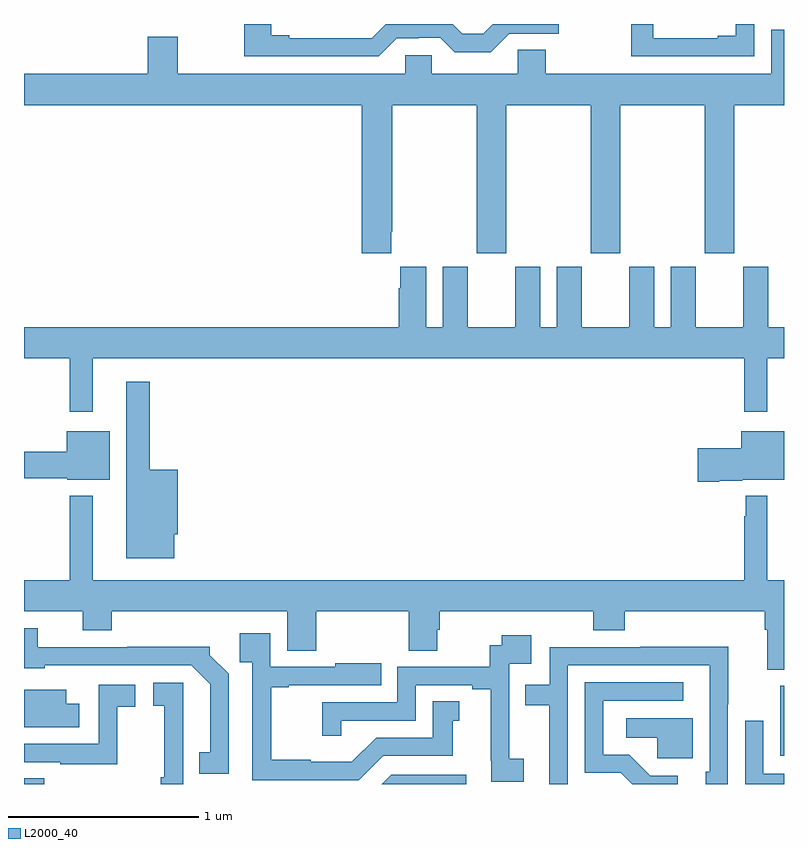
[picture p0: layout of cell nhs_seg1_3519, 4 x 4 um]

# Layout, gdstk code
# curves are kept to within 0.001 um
import gdstk
lib = gdstk.Library(unit=1e-6, precision=1e-09)
def R(c, l, rs):  # rectangles x0, y0, x1, y1
    for r in rs: c.add(gdstk.rectangle(r[:2], r[2:], *l))
def P(c, l, *ps):  # polygons
    for p in ps: c.add(gdstk.Polygon(p, *l))
L2000_40 = (2000, 40)

nhs_seg1_3519 = lib.new_cell('nhs_seg1_3519')
R(nhs_seg1_3519, L2000_40, [(303,508.199,303.107,508.229), (306.98,508.349,307,508.716)])
P(nhs_seg1_3519, L2000_40, [(304.962,512.124),(305.078,512.124),(305.078,512.127),(305.19,512.127),(305.266,512.051),(305.456,512.051),(305.553,512.148),(305.814,512.148),(305.814,512.199),(305.466,512.199),(305.416,512.149),(305.306,512.149),(305.256,512.199),(304.905,512.199),(304.831,512.125),(304.727,512.124),(304.396,512.124),(304.396,512.139),(304.3,512.139),(304.3,512.199),(304.16,512.199),(304.16,512.028),(304.866,512.028)],
  [(306.843,512.199),(306.746,512.199),(306.746,512.137),(306.65,512.137),(306.65,512.124),(306.312,512.124),(306.312,512.199),(306.197,512.199),(306.197,512.028),(306.843,512.028)],
  [(304.933,511.105),(304.938,511.105),(304.938,511.772),(305.383,511.772),(305.383,510.993),(305.538,510.993),(305.538,511.772),(305.983,511.772),(305.983,510.993),(306.138,510.993),(306.138,511.772),(306.583,511.772),(306.583,510.993),(306.738,510.993),(306.738,511.772),(307,511.772),(307,512.17),(306.933,512.17),(306.933,511.936),(305.745,511.936),(305.745,512.063),(305.598,512.063),(305.598,511.936),(305.145,511.936),(305.145,512.034),(305.007,512.034),(305.007,511.936),(303.81,511.936),(303.81,512.132),(303.65,512.132),(303.65,511.936),(303,511.936),(303,511.772),(304.778,511.772),(304.778,510.993),(304.933,510.993)],
  [(303.361,510.44),(306.792,510.44),(306.792,510.159),(306.913,510.159),(306.913,510.44),(307,510.44),(307,510.604),(306.916,510.604),(306.916,510.922),(306.785,510.922),(306.785,510.604),(306.535,510.604),(306.535,510.922),(306.404,510.922),(306.404,510.604),(306.316,510.604),(306.316,510.922),(306.185,510.922),(306.185,510.604),(305.935,510.604),(305.935,510.922),(305.804,510.922),(305.804,510.604),(305.716,510.604),(305.716,510.922),(305.585,510.922),(305.585,510.604),(305.335,510.604),(305.335,510.922),(305.204,510.922),(305.204,510.604),(305.116,510.604),(305.116,510.922),(304.979,510.922),(304.979,510.809),(304.973,510.809),(304.973,510.604),(303,510.604),(303,510.44),(303.24,510.44),(303.24,510.159),(303.361,510.159)],
  [(303.79,509.514),(303.808,509.514),(303.808,509.854),(303.661,509.854),(303.661,510.316),(303.539,510.316),(303.539,509.387),(303.79,509.387)],
  [(303.451,510.055),(303.224,510.055),(303.224,509.949),(303,509.949),(303,509.807),(303.228,509.807),(303.228,509.801),(303.451,509.801)],
  [(306.658,509.795),(306.78,509.795),(306.78,509.801),(307,509.801),(307,510.055),(306.776,510.055),(306.776,509.967),(306.546,509.967),(306.546,509.789),(306.658,509.789)],
  [(303.361,509.716),(303.24,509.716),(303.24,509.272),(303,509.272),(303,509.108),(303.308,509.108),(303.308,509.009),(303.461,509.009),(303.461,509.108),(304.385,509.108),(304.385,508.9),(304.538,508.9),(304.538,509.108),(305.024,509.108),(305.024,508.9),(305.176,508.9),(305.176,509.01),(305.189,509.01),(305.189,509.108),(305.996,509.108),(305.996,509.009),(306.161,509.009),(306.161,509.108),(306.899,509.108),(306.899,509.012),(306.911,509.012),(306.911,508.801),(307,508.801),(307,509.272),(306.913,509.272),(306.913,509.716),(306.799,509.716),(306.799,509.609),(306.792,509.609),(306.792,509.272),(303.361,509.272)],
  [(304.077,508.778),(303.978,508.877),(303.978,508.922),(303.544,508.922),(303.544,508.92),(303.072,508.92),(303.072,509.019),(303,509.019),(303,508.808),(303.108,508.808),(303.108,508.824),(303.879,508.824),(303.98,508.723),(303.98,508.367),(303.922,508.367),(303.922,508.254),(304.077,508.254)],
  [(304.89,508.347),(305.257,508.347),(305.257,508.531),(305.29,508.531),(305.29,508.634),(305.15,508.634),(305.15,508.443),(304.854,508.443),(304.726,508.315),(304.508,508.315),(304.508,508.327),(304.301,508.327),(304.301,508.707),(304.393,508.707),(304.393,508.719),(304.88,508.719),(304.88,508.834),(304.637,508.834),(304.637,508.815),(304.296,508.815),(304.296,508.993),(304.135,508.993),(304.135,508.841),(304.2,508.841),(304.2,508.218),(304.761,508.218)],
  [(305.629,508.332),(305.555,508.332),(305.555,508.529),(305.553,508.529),(305.553,508.833),(305.671,508.833),(305.671,508.981),(305.515,508.981),(305.515,508.929),(305.452,508.929),(305.452,508.815),(304.965,508.815),(304.965,508.629),(304.57,508.629),(304.57,508.452),(304.671,508.452),(304.671,508.533),(305.061,508.533),(305.061,508.719),(305.36,508.719),(305.36,508.699),(305.456,508.699),(305.456,508.321),(305.458,508.321),(305.458,508.21),(305.629,508.21)],
  [(305.862,508.824),(306.609,508.824),(306.609,508.263),(306.587,508.263),(306.587,508.199),(306.705,508.199),(306.705,508.618),(306.707,508.618),(306.707,508.922),(306.244,508.922),(306.244,508.92),(305.766,508.92),(305.766,508.722),(305.638,508.722),(305.638,508.614),(305.765,508.614),(305.765,508.199),(305.862,508.199)],
  [(306.442,508.242),(306.297,508.242),(306.186,508.353),(306.048,508.353),(306.048,508.638),(306.469,508.638),(306.469,508.734),(305.952,508.734),(305.952,508.257),(306.141,508.257),(306.2,508.199),(306.442,508.199)],
  [(303.837,508.456),(303.838,508.456),(303.838,508.732),(303.681,508.732),(303.681,508.611),(303.739,508.611),(303.739,508.235),(303.721,508.235),(303.721,508.199),(303.837,508.199)],
  [(303.492,508.606),(303.586,508.606),(303.586,508.722),(303.393,508.722),(303.393,508.41),(303,508.41),(303,508.314),(303.19,508.314),(303.19,508.302),(303.492,508.302)],
  [(303.292,508.621),(303.223,508.621),(303.223,508.696),(303,508.696),(303,508.499),(303.292,508.499)],
  [(306.52,508.546),(306.171,508.546),(306.171,508.442),(306.333,508.442),(306.333,508.335),(306.52,508.335)],
  [(307,508.254),(306.891,508.254),(306.891,508.531),(306.795,508.531),(306.795,508.199),(307,508.199)],
  [(305.328,508.248),(304.932,508.248),(304.883,508.199),(305.328,508.199)])

lib.write_gds('nhs_seg1_3519.gds')
